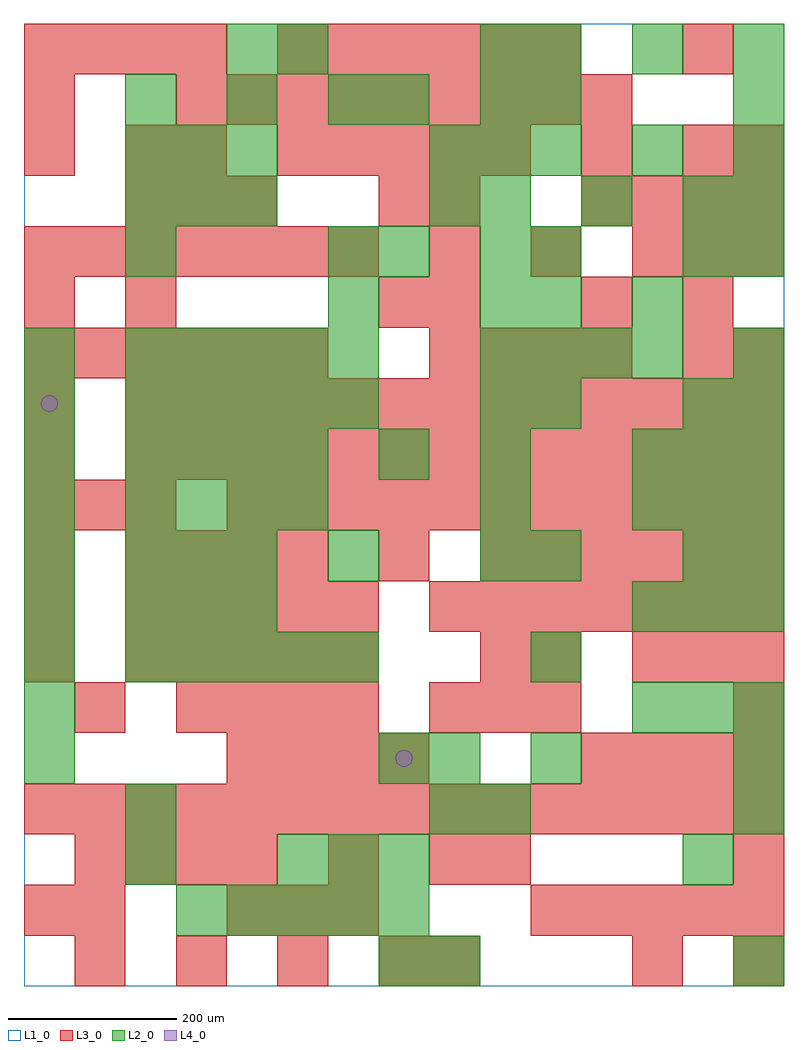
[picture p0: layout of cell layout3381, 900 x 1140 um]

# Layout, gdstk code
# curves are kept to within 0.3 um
import gdstk
lib = gdstk.Library(unit=1e-6, precision=1e-09)
def R(c, l, rs):  # rectangles x0, y0, x1, y1
    for r in rs: c.add(gdstk.rectangle(r[:2], r[2:], *l))
def A(c, l, x, y, w, h, nx, ny, dx, dy):  # array of equal rectangles
    R(c, l, [(x+i*dx, y+j*dy, x+i*dx+w, y+j*dy+h) for i in range(nx) for j in range(ny)])
def P(c, l, *ps):  # polygons
    for p in ps: c.add(gdstk.Polygon(p, *l))
L1_0 = (1, 0)
L2_0 = (2, 0)
L3_0 = (3, 0)
L4_0 = (4, 0)

layout3381 = lib.new_cell('layout3381')
R(layout3381, L1_0, [(0,0,900,1140)])
A(layout3381, L2_0, 180, 60, 60, 60, 5, 1, 60, 0)
A(layout3381, L2_0, 300, 120, 60, 60, 3, 1, 60, 0)
A(layout3381, L2_0, 0, 240, 60, 60, 1, 9, 0, 60)
A(layout3381, L2_0, 600, 240, 60, 60, 1, 3, 0, 120)
A(layout3381, L2_0, 720, 300, 60, 60, 3, 3, 60, 120)
A(layout3381, L2_0, 120, 360, 60, 60, 5, 2, 60, 300)
A(layout3381, L2_0, 120, 420, 60, 60, 3, 2, 60, 60)
A(layout3381, L2_0, 540, 480, 60, 60, 1, 4, 0, 60)
A(layout3381, L2_0, 780, 480, 60, 60, 1, 3, 0, 180)
A(layout3381, L2_0, 120, 540, 60, 60, 4, 2, 60, 60)
A(layout3381, L2_0, 720, 600, 60, 60, 3, 1, 60, 0)
A(layout3381, L2_0, 120, 720, 60, 60, 5, 1, 60, 0)
A(layout3381, L2_0, 540, 720, 60, 60, 4, 1, 60, 0)
A(layout3381, L2_0, 840, 840, 60, 60, 1, 4, 0, 60)
A(layout3381, L2_0, 120, 900, 60, 60, 3, 2, 60, 60)
A(layout3381, L2_0, 540, 900, 60, 60, 3, 1, 120, 0)
A(layout3381, L2_0, 480, 960, 60, 60, 3, 1, 60, 0)
A(layout3381, L2_0, 120, 1020, 60, 60, 3, 1, 120, 0)
A(layout3381, L2_0, 600, 1080, 60, 60, 3, 1, 120, 0)
R(layout3381, L2_0, [(420,0,480,60), (480,0,540,60), (840,0,900,60), (120,120,180,180), (780,120,840,180), (120,180,180,240), (480,180,540,240), (540,180,600,240), (840,180,900,240), (420,240,480,300), (480,240,540,300), (840,240,900,300), (360,480,420,540), (840,480,900,540), (420,600,480,660), (600,660,660,720), (840,660,900,720), (840,720,900,780), (360,780,420,840), (540,780,600,840), (600,780,660,840), (720,780,780,840), (120,840,180,900), (360,840,420,900), (420,840,480,900), (540,840,600,900), (600,840,660,900), (480,900,540,960), (720,960,780,1020), (420,1020,480,1080), (540,1020,600,1080), (600,1020,660,1080), (240,1080,300,1140), (300,1080,360,1140), (540,1080,600,1140)])
A(layout3381, L3_0, 60, 0, 60, 60, 4, 1, 120, 0)
A(layout3381, L3_0, 240, 60, 60, 60, 3, 1, 60, 0)
A(layout3381, L3_0, 600, 60, 60, 60, 5, 1, 60, 0)
A(layout3381, L3_0, 60, 120, 60, 60, 4, 1, 60, 0)
A(layout3381, L3_0, 0, 180, 60, 60, 15, 1, 60, 0)
A(layout3381, L3_0, 240, 240, 60, 60, 4, 1, 60, 0)
A(layout3381, L3_0, 660, 240, 60, 60, 4, 2, 60, 660)
A(layout3381, L3_0, 180, 300, 60, 60, 4, 1, 60, 0)
A(layout3381, L3_0, 480, 300, 60, 60, 3, 1, 60, 0)
A(layout3381, L3_0, 0, 360, 60, 60, 1, 3, 0, 60)
A(layout3381, L3_0, 120, 360, 60, 60, 5, 2, 60, 60)
A(layout3381, L3_0, 720, 360, 60, 60, 3, 1, 60, 0)
A(layout3381, L3_0, 480, 420, 60, 60, 7, 1, 60, 0)
A(layout3381, L3_0, 120, 480, 60, 60, 4, 1, 60, 0)
A(layout3381, L3_0, 540, 480, 60, 60, 6, 1, 60, 0)
A(layout3381, L3_0, 0, 540, 60, 60, 3, 1, 60, 0)
A(layout3381, L3_0, 240, 540, 60, 60, 11, 1, 60, 0)
A(layout3381, L3_0, 120, 600, 60, 60, 13, 2, 60, 60)
A(layout3381, L3_0, 0, 720, 60, 60, 6, 1, 60, 0)
A(layout3381, L3_0, 480, 720, 60, 60, 4, 1, 60, 0)
A(layout3381, L3_0, 780, 720, 60, 60, 1, 3, 0, 60)
A(layout3381, L3_0, 840, 720, 60, 60, 1, 3, 0, 120)
A(layout3381, L3_0, 0, 840, 60, 60, 7, 1, 60, 0)
A(layout3381, L3_0, 480, 840, 60, 60, 3, 1, 120, 0)
A(layout3381, L3_0, 120, 900, 60, 60, 3, 1, 60, 0)
A(layout3381, L3_0, 300, 960, 60, 60, 5, 1, 60, 0)
A(layout3381, L3_0, 180, 1020, 60, 60, 9, 1, 60, 0)
A(layout3381, L3_0, 0, 1080, 60, 60, 4, 1, 60, 0)
A(layout3381, L3_0, 300, 1080, 60, 60, 6, 1, 60, 0)
R(layout3381, L3_0, [(480,0,540,60), (720,0,780,60), (840,0,900,60), (0,60,60,120), (60,60,120,120), (360,120,420,180), (480,120,540,180), (540,120,600,180), (840,120,900,180), (60,300,120,360), (840,300,900,360), (540,360,600,420), (600,360,660,420), (420,480,480,540), (0,600,60,660), (0,660,60,720), (0,780,60,840), (120,780,180,840), (420,780,480,840), (480,780,540,840), (660,780,720,840), (420,900,480,960), (480,900,540,960), (0,960,60,1020), (120,960,180,1020), (180,960,240,1020), (660,960,720,1020), (780,960,840,1020), (0,1020,60,1080), (780,1080,840,1140)])
P(layout3381, L4_0, [(40,690),(39.239,693.827),(37.071,697.071),(33.827,699.239),(30,700),(26.173,699.239),(22.929,697.071),(20.761,693.827),(20,690),(20.761,686.173),(22.929,682.929),(26.173,680.761),(30,680),(33.827,680.761),(37.071,682.929),(39.239,686.173)],
  [(460,270),(459.239,273.827),(457.071,277.071),(453.827,279.239),(450,280),(446.173,279.239),(442.929,277.071),(440.761,273.827),(440,270),(440.761,266.173),(442.929,262.929),(446.173,260.761),(450,260),(453.827,260.761),(457.071,262.929),(459.239,266.173)])

lib.write_gds('layout3381.gds')
